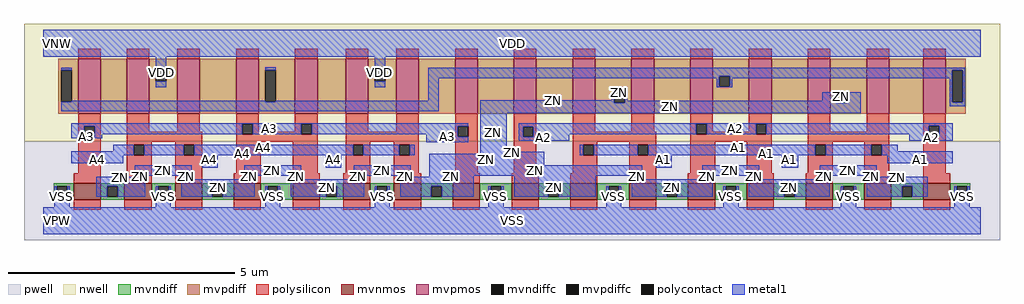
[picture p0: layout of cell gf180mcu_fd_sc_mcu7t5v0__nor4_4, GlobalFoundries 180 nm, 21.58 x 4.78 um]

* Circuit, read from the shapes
.subckt gf180mcu_fd_sc_mcu7t5v0__nor4_4 A1 A2 A3 A4 ZN VDD VNW VPW VSS
XM1 ZN A3 VSS VPW nfet_06v0 w=0.36u l=0.6u m=4
XM2 VSS A4 ZN VPW nfet_06v0 w=0.36u l=0.6u m=4
XM3 ZN A2 VSS VPW nfet_06v0 w=0.36u l=0.6u m=4
XM4 VSS A1 ZN VPW nfet_06v0 w=0.36u l=0.6u m=4
XM5 n1 A3 n2 VNW pfet_06v0 w=1.215u l=0.5u
XM6 VDD A4 n1 VNW pfet_06v0 w=1.215u l=0.5u
XM7 n3 A4 VDD VNW pfet_06v0 w=1.215u l=0.5u
XM8 n2 A3 n3 VNW pfet_06v0 w=1.215u l=0.5u
XM9 n4 A3 n2 VNW pfet_06v0 w=1.215u l=0.5u
XM10 VDD A4 n4 VNW pfet_06v0 w=1.215u l=0.5u
XM11 n5 A4 VDD VNW pfet_06v0 w=1.215u l=0.5u
XM12 n6 A3 n5 VNW pfet_06v0 w=1.215u l=0.5u
XM13 n7 A2 n6 VNW pfet_06v0 w=1.215u l=0.5u
XM14 ZN A1 n7 VNW pfet_06v0 w=1.215u l=0.5u
XM15 n8 A1 ZN VNW pfet_06v0 w=1.215u l=0.5u
XM16 n2 A2 n8 VNW pfet_06v0 w=1.215u l=0.5u
XM17 n9 A2 n2 VNW pfet_06v0 w=1.215u l=0.5u
XM18 ZN A1 n9 VNW pfet_06v0 w=1.215u l=0.5u
XM19 n10 A1 ZN VNW pfet_06v0 w=1.215u l=0.5u
XM20 n2 A2 n10 VNW pfet_06v0 w=1.215u l=0.5u
.ends

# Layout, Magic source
magic
tech gf180mcuD
magscale 1 10
<< nwell >>
rect -86 352 4230 870
<< pwell >>
rect -86 -86 4230 352
<< mvnmos >>
rect 134 93 254 165
rect 358 93 478 165
rect 582 93 702 165
rect 842 93 962 165
rect 1102 93 1222 165
rect 1326 93 1446 165
rect 1550 93 1670 165
rect 1810 93 1930 165
rect 2070 93 2190 165
rect 2330 93 2450 165
rect 2590 93 2710 165
rect 2850 93 2970 165
rect 3110 93 3230 165
rect 3370 93 3490 165
rect 3630 93 3750 165
rect 3890 93 4010 165
<< mvpmos >>
rect 154 473 254 716
rect 368 473 468 716
rect 592 473 692 716
rect 852 473 952 716
rect 1112 473 1212 716
rect 1336 473 1436 716
rect 1560 473 1660 716
rect 1820 473 1920 716
rect 2080 473 2180 716
rect 2340 473 2440 716
rect 2600 473 2700 716
rect 2860 473 2960 716
rect 3120 473 3220 716
rect 3380 473 3480 716
rect 3640 473 3740 716
rect 3890 473 3990 716
<< mvndiff >>
rect 46 152 134 165
rect 46 106 59 152
rect 105 106 134 152
rect 46 93 134 106
rect 254 152 358 165
rect 254 106 283 152
rect 329 106 358 152
rect 254 93 358 106
rect 478 152 582 165
rect 478 106 507 152
rect 553 106 582 152
rect 478 93 582 106
rect 702 152 842 165
rect 702 106 746 152
rect 792 106 842 152
rect 702 93 842 106
rect 962 152 1102 165
rect 962 106 991 152
rect 1037 106 1102 152
rect 962 93 1102 106
rect 1222 152 1326 165
rect 1222 106 1251 152
rect 1297 106 1326 152
rect 1222 93 1326 106
rect 1446 152 1550 165
rect 1446 106 1475 152
rect 1521 106 1550 152
rect 1446 93 1550 106
rect 1670 152 1810 165
rect 1670 106 1715 152
rect 1761 106 1810 152
rect 1670 93 1810 106
rect 1930 152 2070 165
rect 1930 106 1978 152
rect 2024 106 2070 152
rect 1930 93 2070 106
rect 2190 152 2330 165
rect 2190 106 2232 152
rect 2278 106 2330 152
rect 2190 93 2330 106
rect 2450 152 2590 165
rect 2450 106 2499 152
rect 2545 106 2590 152
rect 2450 93 2590 106
rect 2710 152 2850 165
rect 2710 106 2757 152
rect 2803 106 2850 152
rect 2710 93 2850 106
rect 2970 152 3110 165
rect 2970 106 3017 152
rect 3063 106 3110 152
rect 2970 93 3110 106
rect 3230 152 3370 165
rect 3230 106 3277 152
rect 3323 106 3370 152
rect 3230 93 3370 106
rect 3490 152 3630 165
rect 3490 106 3537 152
rect 3583 106 3630 152
rect 3490 93 3630 106
rect 3750 152 3890 165
rect 3750 106 3797 152
rect 3843 106 3890 152
rect 3750 93 3890 106
rect 4010 152 4098 165
rect 4010 106 4039 152
rect 4085 106 4098 152
rect 4010 93 4098 106
<< mvpdiff >>
rect 66 665 154 716
rect 66 525 79 665
rect 125 525 154 665
rect 66 473 154 525
rect 254 473 368 716
rect 468 663 592 716
rect 468 617 497 663
rect 543 617 592 663
rect 468 473 592 617
rect 692 473 852 716
rect 952 665 1112 716
rect 952 525 981 665
rect 1027 525 1112 665
rect 952 473 1112 525
rect 1212 473 1336 716
rect 1436 663 1560 716
rect 1436 617 1465 663
rect 1511 617 1560 663
rect 1436 473 1560 617
rect 1660 473 1820 716
rect 1920 473 2080 716
rect 2180 473 2340 716
rect 2440 567 2600 716
rect 2440 521 2525 567
rect 2571 521 2600 567
rect 2440 473 2600 521
rect 2700 473 2860 716
rect 2960 639 3120 716
rect 2960 593 2989 639
rect 3035 593 3120 639
rect 2960 473 3120 593
rect 3220 473 3380 716
rect 3480 567 3640 716
rect 3480 521 3509 567
rect 3555 521 3640 567
rect 3480 473 3640 521
rect 3740 473 3890 716
rect 3990 664 4078 716
rect 3990 524 4019 664
rect 4065 524 4078 664
rect 3990 473 4078 524
<< mvndiffc >>
rect 59 106 105 152
rect 283 106 329 152
rect 507 106 553 152
rect 746 106 792 152
rect 991 106 1037 152
rect 1251 106 1297 152
rect 1475 106 1521 152
rect 1715 106 1761 152
rect 1978 106 2024 152
rect 2232 106 2278 152
rect 2499 106 2545 152
rect 2757 106 2803 152
rect 3017 106 3063 152
rect 3277 106 3323 152
rect 3537 106 3583 152
rect 3797 106 3843 152
rect 4039 106 4085 152
<< mvpdiffc >>
rect 79 525 125 665
rect 497 617 543 663
rect 981 525 1027 665
rect 1465 617 1511 663
rect 2525 521 2571 567
rect 2989 593 3035 639
rect 3509 521 3555 567
rect 4019 524 4065 664
<< polysilicon >>
rect 154 716 254 760
rect 368 716 468 760
rect 592 716 692 760
rect 852 716 952 760
rect 1112 716 1212 760
rect 1336 716 1436 760
rect 1560 716 1660 760
rect 1820 716 1920 760
rect 2080 716 2180 760
rect 2340 716 2440 760
rect 2600 716 2700 760
rect 2860 716 2960 760
rect 3120 716 3220 760
rect 3380 716 3480 760
rect 3640 716 3740 760
rect 3890 716 3990 760
rect 154 418 254 473
rect 154 372 180 418
rect 226 372 254 418
rect 154 209 254 372
rect 368 394 468 473
rect 592 394 692 473
rect 852 429 952 473
rect 368 348 702 394
rect 368 336 478 348
rect 368 290 400 336
rect 446 290 478 336
rect 368 209 478 290
rect 134 165 254 209
rect 358 165 478 209
rect 582 336 702 348
rect 582 290 620 336
rect 666 290 702 336
rect 582 165 702 290
rect 852 383 879 429
rect 925 394 952 429
rect 1112 429 1212 473
rect 1112 394 1141 429
rect 925 383 1141 394
rect 1187 383 1212 429
rect 852 348 1212 383
rect 852 209 962 348
rect 842 165 962 209
rect 1102 209 1212 348
rect 1336 394 1436 473
rect 1560 394 1660 473
rect 1336 348 1660 394
rect 1336 336 1446 348
rect 1336 290 1369 336
rect 1415 290 1446 336
rect 1336 209 1446 290
rect 1102 165 1222 209
rect 1326 165 1446 209
rect 1550 336 1660 348
rect 1550 290 1574 336
rect 1620 290 1660 336
rect 1550 209 1660 290
rect 1820 418 1920 473
rect 1820 372 1833 418
rect 1879 372 1920 418
rect 1820 209 1920 372
rect 2080 416 2180 473
rect 2080 370 2121 416
rect 2167 370 2180 416
rect 2080 209 2180 370
rect 2340 394 2440 473
rect 2600 394 2700 473
rect 2860 429 2960 473
rect 2340 348 2710 394
rect 2340 336 2450 348
rect 2340 290 2388 336
rect 2434 290 2450 336
rect 2340 209 2450 290
rect 1550 165 1670 209
rect 1810 165 1930 209
rect 2070 165 2190 209
rect 2330 165 2450 209
rect 2590 336 2710 348
rect 2590 290 2628 336
rect 2674 290 2710 336
rect 2590 165 2710 290
rect 2860 383 2887 429
rect 2933 394 2960 429
rect 3120 429 3220 473
rect 3120 394 3151 429
rect 2933 383 3151 394
rect 3197 383 3220 429
rect 2860 348 3220 383
rect 2860 209 2970 348
rect 2850 165 2970 209
rect 3110 209 3220 348
rect 3380 394 3480 473
rect 3640 394 3740 473
rect 3380 348 3740 394
rect 3380 336 3490 348
rect 3380 290 3414 336
rect 3460 290 3490 336
rect 3380 209 3490 290
rect 3110 165 3230 209
rect 3370 165 3490 209
rect 3630 336 3740 348
rect 3630 290 3661 336
rect 3707 290 3740 336
rect 3630 209 3740 290
rect 3890 420 3990 473
rect 3890 374 3915 420
rect 3961 374 3990 420
rect 3890 209 3990 374
rect 3630 165 3750 209
rect 3890 165 4010 209
rect 134 49 254 93
rect 358 49 478 93
rect 582 49 702 93
rect 842 49 962 93
rect 1102 49 1222 93
rect 1326 49 1446 93
rect 1550 49 1670 93
rect 1810 49 1930 93
rect 2070 49 2190 93
rect 2330 49 2450 93
rect 2590 49 2710 93
rect 2850 49 2970 93
rect 3110 49 3230 93
rect 3370 49 3490 93
rect 3630 49 3750 93
rect 3890 49 4010 93
<< polycontact >>
rect 180 372 226 418
rect 400 290 446 336
rect 620 290 666 336
rect 879 383 925 429
rect 1141 383 1187 429
rect 1369 290 1415 336
rect 1574 290 1620 336
rect 1833 372 1879 418
rect 2121 370 2167 416
rect 2388 290 2434 336
rect 2628 290 2674 336
rect 2887 383 2933 429
rect 3151 383 3197 429
rect 3414 290 3460 336
rect 3661 290 3707 336
rect 3915 374 3961 420
<< metal1 >>
rect 0 724 4144 844
rect 79 665 125 676
rect 497 663 543 724
rect 497 590 543 617
rect 981 665 1027 678
rect 125 525 981 530
rect 1465 663 1511 724
rect 1465 590 1511 617
rect 1702 664 4076 677
rect 1702 639 4019 664
rect 1702 630 2989 639
rect 1702 530 1748 630
rect 2978 593 2989 630
rect 3035 630 4019 639
rect 3035 593 3046 630
rect 2978 589 3046 593
rect 2514 567 2582 568
rect 2514 533 2525 567
rect 1027 525 1748 530
rect 79 483 1748 525
rect 1932 521 2525 533
rect 2571 531 2582 567
rect 3443 531 3509 567
rect 2571 521 3509 531
rect 3555 521 3614 567
rect 1932 476 3614 521
rect 4008 524 4019 630
rect 4065 524 4076 664
rect 4008 506 4076 524
rect 122 429 1879 430
rect 122 418 879 429
rect 122 372 180 418
rect 226 383 879 418
rect 925 383 1141 429
rect 1187 418 1879 429
rect 1187 383 1833 418
rect 226 382 1833 383
rect 226 372 259 382
rect 122 364 259 372
rect 1692 372 1833 382
rect 1692 346 1879 372
rect 308 307 400 336
rect 122 290 400 307
rect 446 290 620 336
rect 666 290 1369 336
rect 1415 290 1574 336
rect 1620 290 1642 336
rect 1932 304 2048 476
rect 2102 429 4022 430
rect 2102 416 2887 429
rect 2102 370 2121 416
rect 2167 383 2887 416
rect 2933 383 3151 429
rect 3197 420 4022 429
rect 3197 383 3915 420
rect 2167 382 3915 383
rect 2167 370 2325 382
rect 2102 354 2325 370
rect 3828 374 3915 382
rect 3961 374 4022 420
rect 3828 354 4022 374
rect 1932 296 2214 304
rect 122 253 352 290
rect 404 198 656 244
rect 702 234 770 290
rect 404 195 450 198
rect 234 152 450 195
rect 610 184 656 198
rect 888 198 1140 244
rect 1248 234 1317 290
rect 1707 244 2214 296
rect 2371 290 2388 336
rect 2434 290 2628 336
rect 2674 290 3414 336
rect 3460 290 3661 336
rect 3707 307 3778 336
rect 3707 290 4022 307
rect 888 184 934 198
rect 610 152 934 184
rect 1094 184 1140 198
rect 1372 198 1624 244
rect 1372 184 1418 198
rect 1094 152 1418 184
rect 1578 195 1624 198
rect 1707 198 2648 244
rect 2709 234 2778 290
rect 1707 195 1902 198
rect 1578 152 1902 195
rect 2081 152 2442 198
rect 2602 184 2648 198
rect 2914 198 3166 244
rect 3265 234 3337 290
rect 3732 253 4022 290
rect 2914 184 2960 198
rect 2602 152 2960 184
rect 3120 184 3166 198
rect 3432 198 3686 244
rect 3432 184 3478 198
rect 3120 152 3478 184
rect 3640 195 3686 198
rect 3640 152 3910 195
rect 48 106 59 152
rect 105 106 116 152
rect 234 106 283 152
rect 329 106 450 152
rect 496 106 507 152
rect 553 106 564 152
rect 610 106 746 152
rect 792 106 934 152
rect 980 106 991 152
rect 1037 106 1048 152
rect 1094 106 1251 152
rect 1297 106 1418 152
rect 1464 106 1475 152
rect 1521 106 1532 152
rect 1578 106 1715 152
rect 1761 106 1902 152
rect 1967 106 1978 152
rect 2024 106 2035 152
rect 2081 106 2232 152
rect 2278 106 2442 152
rect 2488 106 2499 152
rect 2545 106 2556 152
rect 2602 106 2757 152
rect 2803 106 2960 152
rect 3006 106 3017 152
rect 3063 106 3074 152
rect 3120 106 3277 152
rect 3323 106 3478 152
rect 3526 106 3537 152
rect 3583 106 3594 152
rect 3640 106 3797 152
rect 3843 106 3910 152
rect 4028 106 4039 152
rect 4085 106 4096 152
rect 48 60 116 106
rect 496 60 564 106
rect 980 60 1048 106
rect 1464 60 1532 106
rect 1967 60 2035 106
rect 2488 60 2556 106
rect 3006 60 3074 106
rect 3526 60 3594 106
rect 4028 60 4096 106
rect 0 -60 4144 60
<< labels >>
flabel metal1 s 122 382 1879 430 0 FreeSans 400 0 0 0 A3
port 3 nsew default input
flabel metal1 s 308 307 1642 336 0 FreeSans 400 0 0 0 A4
port 4 nsew default input
flabel metal1 s 0 724 4144 844 0 FreeSans 400 0 0 0 VDD
port 6 nsew power bidirectional abutment
flabel metal1 s 4028 60 4096 152 0 FreeSans 400 0 0 0 VSS
port 9 nsew ground bidirectional abutment
flabel metal1 s 2514 567 2582 568 0 FreeSans 400 0 0 0 ZN
port 5 nsew default output
flabel metal1 s 2371 307 3778 336 0 FreeSans 400 0 0 0 A1
port 1 nsew default input
flabel metal1 s 2102 382 4022 430 0 FreeSans 400 0 0 0 A2
port 2 nsew default input
flabel nwell s 10 734 110 834 0 FreeSans 400 0 0 0 VNW
port 7 nsew power bidirectional
flabel pwell s 10 -50 110 50 0 FreeSans 400 0 0 0 VPW
port 8 nsew ground bidirectional
rlabel metal1 s 2371 290 4022 307 1 A1
port 1 nsew default input
rlabel metal1 s 3732 253 4022 290 1 A1
port 1 nsew default input
rlabel metal1 s 3265 253 3337 290 1 A1
port 1 nsew default input
rlabel metal1 s 2709 253 2778 290 1 A1
port 1 nsew default input
rlabel metal1 s 3265 234 3337 253 1 A1
port 1 nsew default input
rlabel metal1 s 2709 234 2778 253 1 A1
port 1 nsew default input
rlabel metal1 s 3828 354 4022 382 1 A2
port 2 nsew default input
rlabel metal1 s 2102 354 2325 382 1 A2
port 2 nsew default input
rlabel metal1 s 1692 364 1879 382 1 A3
port 3 nsew default input
rlabel metal1 s 122 364 259 382 1 A3
port 3 nsew default input
rlabel metal1 s 1692 346 1879 364 1 A3
port 3 nsew default input
rlabel metal1 s 122 290 1642 307 1 A4
port 4 nsew default input
rlabel metal1 s 1248 253 1317 290 1 A4
port 4 nsew default input
rlabel metal1 s 702 253 770 290 1 A4
port 4 nsew default input
rlabel metal1 s 122 253 352 290 1 A4
port 4 nsew default input
rlabel metal1 s 1248 234 1317 253 1 A4
port 4 nsew default input
rlabel metal1 s 702 234 770 253 1 A4
port 4 nsew default input
rlabel metal1 s 3443 533 3614 567 1 ZN
port 5 nsew default output
rlabel metal1 s 2514 533 2582 567 1 ZN
port 5 nsew default output
rlabel metal1 s 3443 531 3614 533 1 ZN
port 5 nsew default output
rlabel metal1 s 1932 531 2582 533 1 ZN
port 5 nsew default output
rlabel metal1 s 1932 476 3614 531 1 ZN
port 5 nsew default output
rlabel metal1 s 1932 304 2048 476 1 ZN
port 5 nsew default output
rlabel metal1 s 1932 296 2214 304 1 ZN
port 5 nsew default output
rlabel metal1 s 1707 244 2214 296 1 ZN
port 5 nsew default output
rlabel metal1 s 3432 198 3686 244 1 ZN
port 5 nsew default output
rlabel metal1 s 2914 198 3166 244 1 ZN
port 5 nsew default output
rlabel metal1 s 1707 198 2648 244 1 ZN
port 5 nsew default output
rlabel metal1 s 1372 198 1624 244 1 ZN
port 5 nsew default output
rlabel metal1 s 888 198 1140 244 1 ZN
port 5 nsew default output
rlabel metal1 s 404 198 656 244 1 ZN
port 5 nsew default output
rlabel metal1 s 3640 195 3686 198 1 ZN
port 5 nsew default output
rlabel metal1 s 3432 195 3478 198 1 ZN
port 5 nsew default output
rlabel metal1 s 3120 195 3166 198 1 ZN
port 5 nsew default output
rlabel metal1 s 2914 195 2960 198 1 ZN
port 5 nsew default output
rlabel metal1 s 2602 195 2648 198 1 ZN
port 5 nsew default output
rlabel metal1 s 2081 195 2442 198 1 ZN
port 5 nsew default output
rlabel metal1 s 1707 195 1902 198 1 ZN
port 5 nsew default output
rlabel metal1 s 1578 195 1624 198 1 ZN
port 5 nsew default output
rlabel metal1 s 1372 195 1418 198 1 ZN
port 5 nsew default output
rlabel metal1 s 1094 195 1140 198 1 ZN
port 5 nsew default output
rlabel metal1 s 888 195 934 198 1 ZN
port 5 nsew default output
rlabel metal1 s 610 195 656 198 1 ZN
port 5 nsew default output
rlabel metal1 s 404 195 450 198 1 ZN
port 5 nsew default output
rlabel metal1 s 3640 184 3910 195 1 ZN
port 5 nsew default output
rlabel metal1 s 3432 184 3478 195 1 ZN
port 5 nsew default output
rlabel metal1 s 3120 184 3166 195 1 ZN
port 5 nsew default output
rlabel metal1 s 2914 184 2960 195 1 ZN
port 5 nsew default output
rlabel metal1 s 2602 184 2648 195 1 ZN
port 5 nsew default output
rlabel metal1 s 2081 184 2442 195 1 ZN
port 5 nsew default output
rlabel metal1 s 1578 184 1902 195 1 ZN
port 5 nsew default output
rlabel metal1 s 1372 184 1418 195 1 ZN
port 5 nsew default output
rlabel metal1 s 1094 184 1140 195 1 ZN
port 5 nsew default output
rlabel metal1 s 888 184 934 195 1 ZN
port 5 nsew default output
rlabel metal1 s 610 184 656 195 1 ZN
port 5 nsew default output
rlabel metal1 s 234 184 450 195 1 ZN
port 5 nsew default output
rlabel metal1 s 3640 106 3910 184 1 ZN
port 5 nsew default output
rlabel metal1 s 3120 106 3478 184 1 ZN
port 5 nsew default output
rlabel metal1 s 2602 106 2960 184 1 ZN
port 5 nsew default output
rlabel metal1 s 2081 106 2442 184 1 ZN
port 5 nsew default output
rlabel metal1 s 1578 106 1902 184 1 ZN
port 5 nsew default output
rlabel metal1 s 1094 106 1418 184 1 ZN
port 5 nsew default output
rlabel metal1 s 610 106 934 184 1 ZN
port 5 nsew default output
rlabel metal1 s 234 106 450 184 1 ZN
port 5 nsew default output
rlabel metal1 s 1465 590 1511 724 1 VDD
port 6 nsew power bidirectional abutment
rlabel metal1 s 497 590 543 724 1 VDD
port 6 nsew power bidirectional abutment
rlabel metal1 s 3526 60 3594 152 1 VSS
port 9 nsew ground bidirectional abutment
rlabel metal1 s 3006 60 3074 152 1 VSS
port 9 nsew ground bidirectional abutment
rlabel metal1 s 2488 60 2556 152 1 VSS
port 9 nsew ground bidirectional abutment
rlabel metal1 s 1967 60 2035 152 1 VSS
port 9 nsew ground bidirectional abutment
rlabel metal1 s 1464 60 1532 152 1 VSS
port 9 nsew ground bidirectional abutment
rlabel metal1 s 980 60 1048 152 1 VSS
port 9 nsew ground bidirectional abutment
rlabel metal1 s 496 60 564 152 1 VSS
port 9 nsew ground bidirectional abutment
rlabel metal1 s 48 60 116 152 1 VSS
port 9 nsew ground bidirectional abutment
rlabel metal1 s 0 -60 4144 60 1 VSS
port 9 nsew ground bidirectional abutment
<< properties >>
string FIXED_BBOX 0 0 4144 784
string GDS_END 7520
string GDS_FILE $PDKPATH/libs.ref/gf180mcu_fd_sc_mcu7t5v0/gds/gf180mcu_fd_sc_mcu7t5v0.gds
string GDS_START 146
string LEFclass core
string LEFsite GF018hv5v_mcu_sc7
string LEFsymmetry X Y
<< end >>
